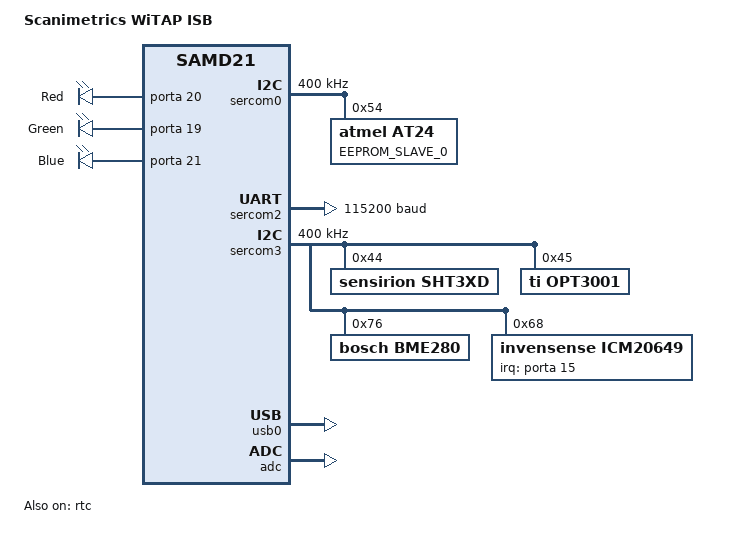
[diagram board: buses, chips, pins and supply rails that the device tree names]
/*
 * Copyright (c) 2019 Scanimetrics Inc.
 *
 * SPDX-License-Identifier: Apache-2.0
 */

/*
 *
 *  See this guide for device tree info
 *  https://docs.zephyrproject.org/latest/guides/dts/index.html
 *
 *  The device tree specification is here:
 *  https://www.devicetree.org/specifications/
 *
 */

/dts-v1/;
#include <atmel/samd21.dtsi>

/ {
	model = "Scanimetrics WiTAP ISB";
	compatible = "scanimetrics,witap_isb", "atmel,samd21g18a", "atmel,samd21";

	chosen {
		zephyr,console = &sercom2;
		zephyr,shell-uart = &sercom2;
		zephyr,sram = &sram0;
		zephyr,flash = &flash0;
		zephyr,code-partition = &code_partition;
	};

	/* These aliases are provided for compatibility with samples */
	aliases {
		led0 = &led0;
		led1 = &led1;
		led2 = &led2;
	};

	led-pins {
		compatible = "gpio-leds";
		led0: led_0 {
			gpios = <&porta 20 (GPIO_ACTIVE_HIGH)>;
			label = "Red";
		};
		led1: led_1 {
			gpios = <&porta 19 (GPIO_ACTIVE_HIGH)>;
			label = "Green";
		};
		led2: led_2 {
			gpios = <&porta 21 (GPIO_ACTIVE_HIGH)>;
			label = "Blue";
		};
	};

	enable-pins {
		compatible = "gpio";
		sensor1: pa6 {
			gpios = <&porta 6 (GPIO_ACTIVE_HIGH)>;
			label = "sensor-en1";
		};
		sensor2: pa2 {
			gpios = <&porta 2 (GPIO_ACTIVE_HIGH)>;
			label = "sensor-en2";
		};
	};

	gps-pins {
		compatible = "gpio";
		gpsreset: pb8 {
			gpios = <&portb 8 (GPIO_ACTIVE_LOW)>;
			label = "gps-reset";
		};
		gpsextint: pb9 {
			gpios = <&portb 9 (GPIO_ACTIVE_LOW)>;
			label = "gps-extint";
		};
		gpstimepulse: pa27 {
			gpios = <&porta 27 (GPIO_ACTIVE_HIGH)>;
			label = "gps-timepulse";
		};
		gpssafeboot: pa28 {
			gpios = <&porta 28 (GPIO_ACTIVE_LOW)>;
			label = "gps-safeboot";
		};
		gpsrxd: pb22 {
			gpios = <&portb 22 (GPIO_ACTIVE_HIGH)>;
			label = "gps-rxd";
		};
	};

	host-pins {
		compatible = "gpio";
		hostint1: pa10 {
			gpios = <&porta 10 (GPIO_ACTIVE_HIGH)>;
			label = "host-int1";
		};
		hostint2: pa11 {
			gpios = <&porta 11 (GPIO_ACTIVE_HIGH)>;
			label = "host-int2";
		};
	};

	interrupt-pins {
		compatible = "gpio";
		imuint1: pa15 {
			gpios = <&porta 15 (GPIO_ACTIVE_HIGH)>;
			label = "imu-int1";
		};
		imuint2: pa14 {
			gpios = <&porta 14 (GPIO_ACTIVE_HIGH)>;
			label = "imu-int2";
		};
		alsalert: pa16 {
			gpios = <&porta 16 (GPIO_ACTIVE_HIGH)>;
			label = "als-alert";
		};
		thsalert: pa17 {
			gpios = <&porta 17 (GPIO_ACTIVE_HIGH)>;
			label = "ths-alert";
		};
	};

	unused-pins {
		compatible = "gpio";
		pa3: pa3 {
			gpios = <&porta 3 0>;
			label = "pa3";
		};
		pa12: pa12 {
			gpios = <&porta 12 0>;
			label = "pa12";
		};
		pa13: pa13 {
			gpios = <&porta 13 0>;
			label = "pa13";
		};
		pa18: pa18 {
			gpios = <&porta 18 0>;
			label = "pa18";
		};
		pb10: pb10 {
			gpios = <&portb 10 0>;
			label = "pb10";
		};
		pb11: pb11 {
			gpios = <&portb 11 0>;
			label = "pb11";
		};
	};
};

&cpu0 {
	clock-frequency = <48000000>;
};

//  SERCOM0 is used for board to board communication between ISB and MKR WAN (DOCK)
&sercom0 {
	status = "okay";
	compatible = "atmel,sam0-i2c";
	#address-cells = <1>;
	#size-cells = <0>;
	//  see ZEPHYR_INCLUDE_DT_BINDINGS_I2C_I2C_H_ for frequency defines
	clock-frequency = <I2C_BITRATE_FAST>;
	// interrupts = <9 0>;

	eeprom@54 {
		compatible = "atmel,at24";
		reg = <0x54>;
		label = "EEPROM_SLAVE_0";
		size = <256>;
		pagesize = <16>;
		address-width = <8>;
		timeout = <5>;
	};
};

//  use SERCOM2 as UART for console and USB CDC
&sercom2 {
	status = "okay";
	compatible = "atmel,sam0-uart";
	current-speed = <115200>;
	rxpo = <1>;
	txpo = <0>;
	// interrupts = <11 0>;
};

//  SERCOM3 is the local bus for onboard sensors
&sercom3 {
	status = "okay";
	compatible = "atmel,sam0-i2c";
	//  see zephyr/include/dt-bindings/i2c/i2c.h for device tree frequency defines
	clock-frequency = <I2C_BITRATE_FAST>;
	#address-cells = <1>;
	#size-cells = <0>;
	dma = <0>;
	interrupts = <12 0>;

	ths0: sht3xd@44 {
		compatible = "sensirion,sht3xd";
		label = "SHT3XD";
		reg = <0x44>;
		// alert-gpios = <&porta 17 GPIO_INT_ACTIVE_HIGH>;
	};

	als0: opt3001@45 {
		compatible = "ti,opt3001";
		label = "OPT3001";
		reg = <0x45>;
	};

	bps0: bme280@76 {
        compatible = "bosch,bme280";
        label = "BME280";
        reg = <0x76>;
	};

	imu0: icm20649@68 {
		compatible = "invensense,icm20649";
		label = "ICM20649";
		reg = <0x68>;
		irq-gpios = <&porta 15 0>;
	};
};

//  SERCOM5 is connected to the onboard GPS module
&sercom5 {
	status = "disabled";
	compatible = "atmel,sam0-i2c";
	//  see ZEPHYR_INCLUDE_DT_BINDINGS_I2C_I2C_H_ for frequency defines
	clock-frequency = <I2C_BITRATE_FAST>;
	// label = "I2C_1";
	#address-cells = <1>;
	#size-cells = <0>;
	// interrupts = <14 0>;
};

/*
 *  See this link for additional info on flash partitions
 *  https://github.com/zephyrproject-rtos/zephyr/blob/master/doc/guides/dts/flash_partitions.inc
 *
 *  Note, for some reason, code is not place automatically in the code partition
 *  To do so, you need to ensure that the base address is set in your project config
 *  For example:
 *    CONFIG_FLASH_BASE_ADDRESS=0x2000
 *
 */

&flash0 {
	partitions {
		compatible = "fixed-partitions";
		#address-cells = <1>;
		#size-cells = <1>;

		boot_partition: partition@0 {
			label = "sam-ba";
			reg = <0x00000000 0x2000>;
			read-only;
		};

		code_partition: partition@2000 {
			label = "code";
			reg = <0x2000 0x3c000>;
			read-only;
		};

		/*
		 * The final 16 KiB is reserved for the application
		 * and is used by NFFS if enabled.
		 */
		storage_partition: partition@3e000 {
			label = "storage";
			reg = <0x0003e000 0x00002000>;
		};
	};
};

&usb0 {
	status = "okay";
};

&rtc {
	status = "okay";
	/*  use GCLK4 (xosc32k) as the source for the rtc  */
	/*  RTC clock frequency is defined in soc.h  */
	clock-generator = <4>;
	prescaler = <0>;
	/* RTC uses highest priority interrupt */
	interrupts = <3 0>;
};

&adc {
	status = "okay";
	// interrupts = <19 0>;
};
